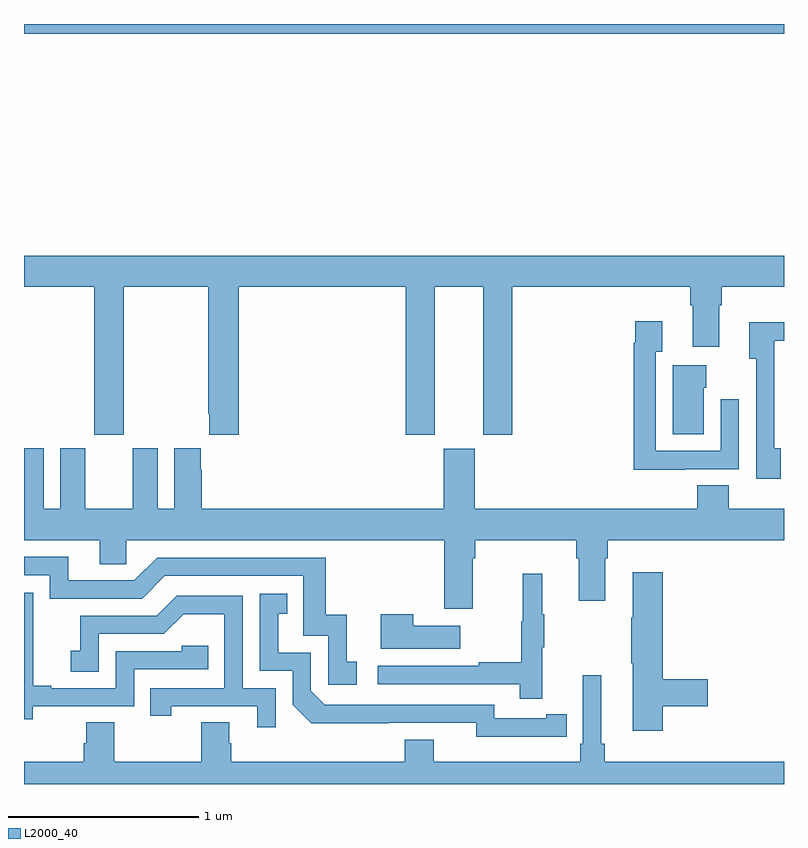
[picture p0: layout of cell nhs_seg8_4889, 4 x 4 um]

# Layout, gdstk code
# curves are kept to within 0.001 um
import gdstk
lib = gdstk.Library(unit=1e-6, precision=1e-09)
def R(c, l, rs):  # rectangles x0, y0, x1, y1
    for r in rs: c.add(gdstk.rectangle(r[:2], r[2:], *l))
def P(c, l, *ps):  # polygons
    for p in ps: c.add(gdstk.Polygon(p, *l))
L2000_40 = (2000, 40)

nhs_seg8_4889 = lib.new_cell('nhs_seg8_4889')
R(nhs_seg8_4889, L2000_40, [(407,1101.848,411,1101.9)])
P(nhs_seg8_4889, L2000_40, [(407.526,1100.516),(407.971,1100.516),(407.971,1099.849),(407.975,1099.849),(407.975,1099.737),(408.131,1099.737),(408.131,1100.516),(409.01,1100.516),(409.01,1099.737),(409.162,1099.737),(409.162,1100.516),(409.418,1100.516),(409.418,1099.737),(409.571,1099.737),(409.571,1100.516),(410.507,1100.516),(410.507,1100.42),(410.519,1100.42),(410.519,1100.202),(410.659,1100.202),(410.659,1100.42),(410.672,1100.42),(410.672,1100.516),(411,1100.516),(411,1100.68),(407,1100.68),(407,1100.516),(407.371,1100.516),(407.371,1099.737),(407.526,1099.737)],
  [(410.479,1099.557),(410.763,1099.557),(410.763,1099.924),(410.667,1099.924),(410.667,1099.653),(410.325,1099.653),(410.325,1100.174),(410.359,1100.174),(410.359,1100.335),(410.217,1100.335),(410.217,1100.222),(410.209,1100.222),(410.209,1099.553),(410.479,1099.553)],
  [(410.983,1099.666),(410.949,1099.666),(410.949,1100.232),(411,1100.232),(411,1100.33),(410.816,1100.33),(410.816,1100.138),(410.853,1100.138),(410.853,1099.506),(410.983,1099.506)],
  [(410.578,1099.986),(410.59,1099.986),(410.59,1100.104),(410.414,1100.104),(410.414,1099.74),(410.578,1099.74)],
  [(409.363,1099.088),(409.376,1099.088),(409.376,1099.184),(409.907,1099.184),(409.907,1099.088),(409.919,1099.088),(409.919,1098.864),(410.059,1098.864),(410.059,1099.088),(410.072,1099.088),(410.072,1099.184),(411,1099.184),(411,1099.348),(410.708,1099.348),(410.708,1099.472),(410.543,1099.472),(410.543,1099.348),(409.372,1099.348),(409.372,1099.665),(409.208,1099.665),(409.208,1099.348),(407.936,1099.348),(407.936,1099.553),(407.929,1099.553),(407.929,1099.666),(407.792,1099.666),(407.792,1099.348),(407.704,1099.348),(407.704,1099.666),(407.573,1099.666),(407.573,1099.348),(407.323,1099.348),(407.323,1099.666),(407.192,1099.666),(407.192,1099.348),(407.104,1099.348),(407.104,1099.666),(407,1099.666),(407,1099.184),(407.399,1099.184),(407.399,1099.057),(407.538,1099.057),(407.538,1099.184),(409.211,1099.184),(409.211,1098.822),(409.363,1098.822)],
  [(408.751,1098.543),(408.698,1098.543),(408.698,1098.79),(408.587,1098.79),(408.587,1099.092),(407.7,1099.092),(407.58,1098.972),(407.233,1098.972),(407.233,1099.095),(407,1099.095),(407,1098.999),(407.136,1098.999),(407.136,1098.876),(407.622,1098.876),(407.742,1098.996),(408.471,1098.996),(408.471,1098.681),(408.6,1098.681),(408.6,1098.423),(408.751,1098.423)],
  [(410.363,1098.31),(410.599,1098.31),(410.599,1098.452),(410.363,1098.452),(410.363,1099.015),(410.204,1099.015),(410.204,1098.776),(410.197,1098.776),(410.197,1098.535),(410.204,1098.535),(410.204,1098.18),(410.363,1098.18)],
  [(409.727,1098.619),(409.738,1098.619),(409.738,1098.793),(409.727,1098.793),(409.727,1099.006),(409.624,1099.006),(409.624,1098.756),(409.617,1098.756),(409.617,1098.542),(409.393,1098.542),(409.393,1098.522),(408.861,1098.522),(408.861,1098.426),(409.609,1098.426),(409.609,1098.348),(409.727,1098.348)],
  [(407.046,1098.309),(407.58,1098.309),(407.58,1098.504),(407.969,1098.504),(407.969,1098.627),(407.829,1098.627),(407.829,1098.6),(407.484,1098.6),(407.484,1098.405),(407.143,1098.405),(407.143,1098.418),(407.048,1098.418),(407.048,1098.701),(407.049,1098.701),(407.049,1098.907),(407,1098.907),(407,1098.241),(407.046,1098.241)],
  [(409.748,1098.15),(409.856,1098.15),(409.856,1098.266),(409.748,1098.266),(409.748,1098.246),(409.476,1098.246),(409.476,1098.318),(408.582,1098.318),(408.51,1098.39),(408.51,1098.591),(408.337,1098.591),(408.337,1098.795),(408.386,1098.795),(408.386,1098.901),(408.24,1098.901),(408.24,1098.495),(408.414,1098.495),(408.414,1098.318),(408.512,1098.221),(409.38,1098.222),(409.38,1098.149)],
  [(408.324,1098.405),(408.15,1098.405),(408.15,1098.891),(407.804,1098.891),(407.699,1098.786),(407.296,1098.786),(407.296,1098.601),(407.247,1098.601),(407.247,1098.492),(407.394,1098.492),(407.394,1098.69),(407.736,1098.69),(407.84,1098.794),(408.054,1098.794),(408.054,1098.405),(407.665,1098.405),(407.665,1098.258),(407.776,1098.258),(407.776,1098.309),(408.227,1098.309),(408.227,1098.198),(408.324,1098.198)],
  [(409.297,1098.733),(409.049,1098.733),(409.049,1098.793),(408.878,1098.793),(408.878,1098.611),(409.297,1098.611)],
  [(411,1098.016),(410.057,1098.016),(410.057,1098.112),(410.038,1098.112),(410.038,1098.472),(409.941,1098.472),(409.941,1098.112),(409.928,1098.112),(409.928,1098.016),(409.156,1098.016),(409.156,1098.133),(409.004,1098.133),(409.004,1098.016),(408.092,1098.016),(408.092,1098.114),(408.079,1098.114),(408.079,1098.224),(407.932,1098.224),(407.932,1098.016),(407.475,1098.016),(407.475,1098.224),(407.327,1098.224),(407.327,1098.114),(407.315,1098.114),(407.315,1098.016),(407,1098.016),(407,1097.9),(411,1097.9)])

lib.write_gds('nhs_seg8_4889.gds')
